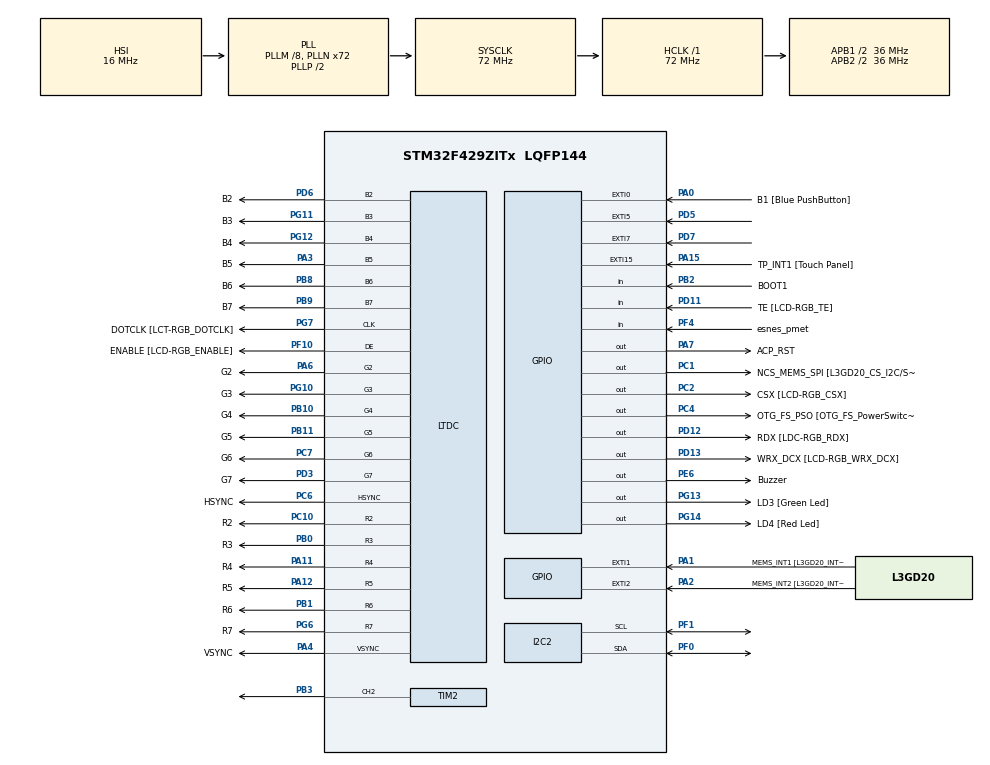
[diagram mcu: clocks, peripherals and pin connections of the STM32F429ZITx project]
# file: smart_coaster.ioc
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Mcu.Family=STM32F4
Mcu.Name=STM32F429ZITx
Mcu.Package=LQFP144
NVIC.PriorityGroup=NVIC_PRIORITYGROUP_4
PA0/WKUP.GPIO_Label=B1 [Blue PushButton]
PA0/WKUP.GPIO_ModeDefaultEXTI=GPIO_MODE_EVT_RISING
PA0/WKUP.GPIO_PuPd=GPIO_NOPULL
PA0/WKUP.Signal=GPXTI0
PA1.GPIO_Label=MEMS_INT1 [L3GD20_INT1]
PA1.GPIO_ModeDefaultEXTI=GPIO_MODE_EVT_RISING
PA1.GPIO_PuPd=GPIO_NOPULL
PA1.Signal=GPXTI1
PA10.GPIO_Label=STLINK_TX [STM32F103CBT6_PA2]
PA10.Signal=USART1_RX
PA11.GPIO_Label=R4
PA11.GPIO_Mode=GPIO_MODE_AF_PP
PA11.GPIO_PuPd=GPIO_NOPULL
PA11.GPIO_Speed=GPIO_SPEED_FREQ_LOW
PA11.Mode=RGB666
PA11.Signal=LTDC_R4
PA12.GPIO_Label=R5
PA12.GPIO_Mode=GPIO_MODE_AF_PP
PA12.GPIO_PuPd=GPIO_NOPULL
PA12.GPIO_Speed=GPIO_SPEED_FREQ_LOW
PA12.Mode=RGB666
PA12.Signal=LTDC_R5
PA13.GPIO_Label=SWDIO
PA13.Signal=SYS_JTMS-SWDIO
PA14.GPIO_Label=SWCLK
PA14.Signal=SYS_JTCK-SWCLK
PA15.GPIO_Label=TP_INT1 [Touch Panel]
PA15.GPIO_ModeDefaultEXTI=GPIO_MODE_EVT_RISING
PA15.GPIO_PuPd=GPIO_NOPULL
PA15.Signal=GPXTI15
PA2.GPIO_Label=MEMS_INT2 [L3GD20_INT2]
PA2.GPIO_ModeDefaultEXTI=GPIO_MODE_EVT_RISING
PA2.GPIO_PuPd=GPIO_NOPULL
PA2.Signal=GPXTI2
PA3.GPIO_Label=B5
PA3.GPIO_Mode=GPIO_MODE_AF_PP
PA3.GPIO_PuPd=GPIO_NOPULL
PA3.GPIO_Speed=GPIO_SPEED_FREQ_LOW
PA3.Mode=RGB666
PA3.Signal=LTDC_B5
PA4.GPIO_Label=VSYNC
PA4.GPIO_Mode=GPIO_MODE_AF_PP
PA4.GPIO_PuPd=GPIO_NOPULL
PA4.GPIO_Speed=GPIO_SPEED_FREQ_LOW
PA4.Mode=RGB666
PA4.Signal=LTDC_VSYNC
PA6.GPIO_Label=G2
PA6.GPIO_Mode=GPIO_MODE_AF_PP
PA6.GPIO_PuPd=GPIO_NOPULL
PA6.GPIO_Speed=GPIO_SPEED_FREQ_LOW
PA6.Mode=RGB666
PA6.Signal=LTDC_G2
PA7.GPIO_Label=ACP_RST
PA7.GPIO_Mode=GPIO_MODE_OUTPUT_PP
PA7.GPIO_PuPd=GPIO_NOPULL
PA7.GPIO_Speed=GPIO_SPEED_FREQ_LOW
PA7.Signal=GPIO_Output
PA8.GPIO_Label=I2C3_SCL [ACP/RF_SCL]
PA8.GPIO_Mode=GPIO_MODE_AF_OD
PA8.GPIO_Pu=GPIO_PULLUP
PA8.GPIO_PuPd=GPIO_NOPULL
PA8.GPIO_Speed=GPIO_SPEED_FREQ_LOW
PA8.Signal=I2C3_SCL
PA9.GPIO_Label=STLINK_RX [STM32F103CBT6_PA3]
PA9.Signal=USART1_TX
PB0.GPIO_Label=R3
PB0.GPIO_Mode=GPIO_MODE_AF_PP
PB0.GPIO_PuPd=GPIO_NOPULL
PB0.GPIO_Speed=GPIO_SPEED_FREQ_LOW
PB0.Mode=RGB666
PB0.Signal=LTDC_R3
PB1.GPIO_Label=R6
PB1.GPIO_Mode=GPIO_MODE_AF_PP
PB1.GPIO_PuPd=GPIO_NOPULL
PB1.GPIO_Speed=GPIO_SPEED_FREQ_LOW
PB1.Mode=RGB666
PB1.Signal=LTDC_R6
PB10.GPIO_Label=G4
PB10.GPIO_Mode=GPIO_MODE_AF_PP
PB10.GPIO_PuPd=GPIO_NOPULL
PB10.GPIO_Speed=GPIO_SPEED_FREQ_LOW
PB10.Mode=RGB666
PB10.Signal=LTDC_G4
PB11.GPIO_Label=G5
PB11.GPIO_Mode=GPIO_MODE_AF_PP
PB11.GPIO_PuPd=GPIO_NOPULL
PB11.GPIO_Speed=GPIO_SPEED_FREQ_LOW
PB11.Mode=RGB666
PB11.Signal=LTDC_G5
PB12.GPIO_Label=OTG_HS_ID
PB12.GPIO_Mode=GPIO_MODE_AF_PP
PB12.GPIO_PuPd=GPIO_NOPULL
PB12.GPIO_Speed=GPIO_SPEED_FREQ_LOW
PB12.Signal=USB_OTG_HS_ID
PB13.GPIO_Label=VBUS_HS
PB13.GPIO_Mode=GPIO_MODE_INPUT
PB13.GPIO_PuPd=GPIO_NOPULL
PB13.Signal=USB_OTG_HS_VBUS
PB14.GPIO_Label=OTG_HS_DM
PB14.GPIO_Mode=GPIO_MODE_AF_PP
PB14.GPIO_PuPd=GPIO_NOPULL
PB14.GPIO_Speed=GPIO_SPEED_FREQ_LOW
PB14.Signal=USB_OTG_HS_DM
PB15.GPIO_Label=OTG_HS_DP
PB15.GPIO_Mode=GPIO_MODE_AF_PP
PB15.GPIO_PuPd=GPIO_NOPULL
PB15.GPIO_Speed=GPIO_SPEED_FREQ_LOW
PB15.Signal=USB_OTG_HS_DP
PB2/BOOT1.GPIO_Label=BOOT1
PB2/BOOT1.GPIO_Mode=GPIO_MODE_INPUT
PB2/BOOT1.GPIO_PuPd=GPIO_NOPULL
PB2/BOOT1.Signal=GPIO_Input
PB3.Signal=S_TIM2_CH2
PB5.GPIO_Label=SDCKE1
PB5.GPIO_Mode=GPIO_MODE_AF_PP
PB5.GPIO_PuPd=GPIO_NOPULL
PB5.GPIO_Speed=GPIO_SPEED_FREQ_VERY_HIGH
PB5.Signal=FMC_SDCKE1
PB6.GPIO_Label=SDNE1 [SDRAM_CS]
PB6.GPIO_Mode=GPIO_MODE_AF_PP
PB6.GPIO_PuPd=GPIO_NOPULL
PB6.GPIO_Speed=GPIO_SPEED_FREQ_VERY_HIGH
PB6.Signal=FMC_SDNE1
PB8.GPIO_Label=B6
PB8.GPIO_Mode=GPIO_MODE_AF_PP
PB8.GPIO_PuPd=GPIO_NOPULL
PB8.GPIO_Speed=GPIO_SPEED_FREQ_LOW
PB8.Mode=RGB666
PB8.Signal=LTDC_B6
PB9.GPIO_Label=B7
PB9.GPIO_Mode=GPIO_MODE_AF_PP
PB9.GPIO_PuPd=GPIO_NOPULL
PB9.GPIO_Speed=GPIO_SPEED_FREQ_LOW
PB9.Mode=RGB666
PB9.Signal=LTDC_B7
PC0.GPIO_Label=SDNWE
PC0.GPIO_Mode=GPIO_MODE_AF_PP
PC0.GPIO_PuPd=GPIO_NOPULL
PC0.GPIO_Speed=GPIO_SPEED_FREQ_VERY_HIGH
PC0.Signal=FMC_SDNWE
PC1.GPIO_Label=NCS_MEMS_SPI [L3GD20_CS_I2C/SPI]
PC1.GPIO_Mode=GPIO_MODE_OUTPUT_PP
PC1.GPIO_PuPd=GPIO_NOPULL
PC1.GPIO_Speed=GPIO_SPEED_FREQ_LOW
PC1.Signal=GPIO_Output
PC10.GPIO_Label=R2
PC10.GPIO_Mode=GPIO_MODE_AF_PP
PC10.GPIO_PuPd=GPIO_NOPULL
PC10.GPIO_Speed=GPIO_SPEED_FREQ_LOW
PC10.Mode=RGB666
PC10.Signal=LTDC_R2
PC14/OSC32_IN.GPIO_Label=PC14-OSC32_IN
PC14/OSC32_IN.Signal=RCC_OSC32_IN
PC15/OSC32_OUT.GPIO_Label=PC15-OSC32_OUT
PC15/OSC32_OUT.Signal=RCC_OSC32_OUT
PC2.GPIO_Label=CSX [LCD-RGB_CSX]
PC2.GPIO_Mode=GPIO_MODE_OUTPUT_PP
PC2.GPIO_PuPd=GPIO_NOPULL
PC2.GPIO_Speed=GPIO_SPEED_FREQ_LOW
PC2.Signal=GPIO_Output
PC4.GPIO_Label=OTG_FS_PSO [OTG_FS_PowerSwitchOn]
PC4.GPIO_Mode=GPIO_MODE_OUTPUT_PP
PC4.GPIO_PuPd=GPIO_NOPULL
PC4.GPIO_Speed=GPIO_SPEED_FREQ_LOW
PC4.Signal=GPIO_Output
PC6.GPIO_Label=HSYNC
PC6.GPIO_Mode=GPIO_MODE_AF_PP
PC6.GPIO_PuPd=GPIO_NOPULL
PC6.GPIO_Speed=GPIO_SPEED_FREQ_LOW
PC6.Mode=RGB666
PC6.Signal=LTDC_HSYNC
PC7.GPIO_Label=G6
PC7.GPIO_Mode=GPIO_MODE_AF_PP
PC7.GPIO_PuPd=GPIO_NOPULL
PC7.GPIO_Speed=GPIO_SPEED_FREQ_LOW
PC7.Mode=RGB666
PC7.Signal=LTDC_G6
PC9.GPIO_Label=I2C3_SDA [ACP/RF_SDA]
PC9.GPIO_Mode=GPIO_MODE_AF_OD
PC9.GPIO_Pu=GPIO_PULLUP
PC9.GPIO_PuPd=GPIO_NOPULL
PC9.GPIO_Speed=GPIO_SPEED_FREQ_LOW
PC9.Signal=I2C3_SDA
PD0.GPIO_Label=D2
PD0.GPIO_Mode=GPIO_MODE_AF_PP
PD0.GPIO_PuPd=GPIO_NOPULL
PD0.GPIO_Speed=GPIO_SPEED_FREQ_VERY_HIGH
PD0.Signal=FMC_D2_DA2
PD1.GPIO_Label=D3
PD1.GPIO_Mode=GPIO_MODE_AF_PP
PD1.GPIO_PuPd=GPIO_NOPULL
PD1.GPIO_Speed=GPIO_SPEED_FREQ_VERY_HIGH
PD1.Signal=FMC_D3_DA3
PD10.GPIO_Label=D15
PD10.GPIO_Mode=GPIO_MODE_AF_PP
PD10.GPIO_PuPd=GPIO_NOPULL
PD10.GPIO_Speed=GPIO_SPEED_FREQ_VERY_HIGH
PD10.Signal=FMC_D15_DA15
PD11.GPIO_Label=TE [LCD-RGB_TE]
PD11.GPIO_Mode=GPIO_MODE_INPUT
PD11.GPIO_PuPd=GPIO_NOPULL
PD11.Signal=GPIO_Input
PD12.GPIO_Label=RDX [LDC-RGB_RDX]
PD12.GPIO_Mode=GPIO_MODE_OUTPUT_PP
PD12.GPIO_PuPd=GPIO_NOPULL
PD12.GPIO_Speed=GPIO_SPEED_FREQ_LOW
PD12.Signal=GPIO_Output
PD13.GPIO_Label=WRX_DCX [LCD-RGB_WRX_DCX]
PD13.GPIO_Mode=GPIO_MODE_OUTPUT_PP
PD13.GPIO_PuPd=GPIO_NOPULL
PD13.GPIO_Speed=GPIO_SPEED_FREQ_LOW
PD13.Signal=GPIO_Output
PD14.GPIO_Label=D0
PD14.GPIO_Mode=GPIO_MODE_AF_PP
PD14.GPIO_PuPd=GPIO_NOPULL
PD14.GPIO_Speed=GPIO_SPEED_FREQ_VERY_HIGH
PD14.Signal=FMC_D0_DA0
PD15.GPIO_Label=D1
PD15.GPIO_Mode=GPIO_MODE_AF_PP
PD15.GPIO_PuPd=GPIO_NOPULL
PD15.GPIO_Speed=GPIO_SPEED_FREQ_VERY_HIGH
PD15.Signal=FMC_D1_DA1
PD3.GPIO_Label=G7
PD3.GPIO_Mode=GPIO_MODE_AF_PP
PD3.GPIO_PuPd=GPIO_NOPULL
PD3.GPIO_Speed=GPIO_SPEED_FREQ_LOW
PD3.Mode=RGB666
PD3.Signal=LTDC_G7
PD5.Signal=GPXTI5
PD6.GPIO_Label=B2
PD6.GPIO_Mode=GPIO_MODE_AF_PP
PD6.GPIO_PuPd=GPIO_NOPULL
PD6.GPIO_Speed=GPIO_SPEED_FREQ_LOW
PD6.Mode=RGB666
PD6.Signal=LTDC_B2
PD7.Signal=GPXTI7
PD8.GPIO_Label=D13
PD8.GPIO_Mode=GPIO_MODE_AF_PP
PD8.GPIO_PuPd=GPIO_NOPULL
PD8.GPIO_Speed=GPIO_SPEED_FREQ_VERY_HIGH
PD8.Signal=FMC_D13_DA13
PD9.GPIO_Label=D14
PD9.GPIO_Mode=GPIO_MODE_AF_PP
PD9.GPIO_PuPd=GPIO_NOPULL
PD9.GPIO_Speed=GPIO_SPEED_FREQ_VERY_HIGH
PD9.Signal=FMC_D14_DA14
PE0.GPIO_Label=NBL0 [SDRAM_LDQM]
PE0.GPIO_Mode=GPIO_MODE_AF_PP
PE0.GPIO_PuPd=GPIO_NOPULL
PE0.GPIO_Speed=GPIO_SPEED_FREQ_VERY_HIGH
PE0.Signal=FMC_NBL0
PE1.GPIO_Label=NBL1 [SDRAM_UDQM]
PE1.GPIO_Mode=GPIO_MODE_AF_PP
PE1.GPIO_PuPd=GPIO_NOPULL
PE1.GPIO_Speed=GPIO_SPEED_FREQ_VERY_HIGH
PE1.Signal=FMC_NBL1
PE10.GPIO_Label=D7
PE10.GPIO_Mode=GPIO_MODE_AF_PP
PE10.GPIO_PuPd=GPIO_NOPULL
PE10.GPIO_Speed=GPIO_SPEED_FREQ_VERY_HIGH
PE10.Signal=FMC_D7_DA7
PE11.GPIO_Label=D8
PE11.GPIO_Mode=GPIO_MODE_AF_PP
PE11.GPIO_PuPd=GPIO_NOPULL
PE11.GPIO_Speed=GPIO_SPEED_FREQ_VERY_HIGH
PE11.Signal=FMC_D8_DA8
PE12.GPIO_Label=D9
PE12.GPIO_Mode=GPIO_MODE_AF_PP
PE12.GPIO_PuPd=GPIO_NOPULL
PE12.GPIO_Speed=GPIO_SPEED_FREQ_VERY_HIGH
PE12.Signal=FMC_D9_DA9
PE13.GPIO_Label=D10
PE13.GPIO_Mode=GPIO_MODE_AF_PP
PE13.GPIO_PuPd=GPIO_NOPULL
PE13.GPIO_Speed=GPIO_SPEED_FREQ_VERY_HIGH
PE13.Signal=FMC_D10_DA10
PE14.GPIO_Label=D11
PE14.GPIO_Mode=GPIO_MODE_AF_PP
PE14.GPIO_PuPd=GPIO_NOPULL
PE14.GPIO_Speed=GPIO_SPEED_FREQ_VERY_HIGH
PE14.Signal=FMC_D11_DA11
PE15.GPIO_Label=D12
PE15.GPIO_Mode=GPIO_MODE_AF_PP
PE15.GPIO_PuPd=GPIO_NOPULL
PE15.GPIO_Speed=GPIO_SPEED_FREQ_VERY_HIGH
PE15.Signal=FMC_D12_DA12
PE6.GPIO_Label=Buzzer
PE6.Signal=GPIO_Output
PE7.GPIO_Label=D4
PE7.GPIO_Mode=GPIO_MODE_AF_PP
PE7.GPIO_PuPd=GPIO_NOPULL
PE7.GPIO_Speed=GPIO_SPEED_FREQ_VERY_HIGH
PE7.Signal=FMC_D4_DA4
PE8.GPIO_Label=D5
PE8.GPIO_Mode=GPIO_MODE_AF_PP
PE8.GPIO_PuPd=GPIO_NOPULL
PE8.GPIO_Speed=GPIO_SPEED_FREQ_VERY_HIGH
PE8.Signal=FMC_D5_DA5
PE9.GPIO_Label=D6
PE9.GPIO_Mode=GPIO_MODE_AF_PP
PE9.GPIO_PuPd=GPIO_NOPULL
PE9.GPIO_Speed=GPIO_SPEED_FREQ_VERY_HIGH
PE9.Signal=FMC_D6_DA6
PF0.Mode=I2C
PF0.Signal=I2C2_SDA
PF1.Mode=I2C
PF1.Signal=I2C2_SCL
PF10.GPIO_Label=ENABLE [LCD-RGB_ENABLE]
PF10.GPIO_Mode=GPIO_MODE_AF_PP
PF10.GPIO_PuPd=GPIO_NOPULL
PF10.GPIO_Speed=GPIO_SPEED_FREQ_LOW
PF10.Mode=RGB666
PF10.Signal=LTDC_DE
PF11.GPIO_Label=SDNRAS
PF11.GPIO_Mode=GPIO_MODE_AF_PP
PF11.GPIO_PuPd=GPIO_NOPULL
PF11.GPIO_Speed=GPIO_SPEED_FREQ_VERY_HIGH
PF11.Signal=FMC_SDNRAS
PF12.GPIO_Label=A6
PF12.GPIO_Mode=GPIO_MODE_AF_PP
PF12.GPIO_PuPd=GPIO_NOPULL
PF12.GPIO_Speed=GPIO_SPEED_FREQ_VERY_HIGH
PF12.Signal=FMC_A6
PF13.GPIO_Label=A7
PF13.GPIO_Mode=GPIO_MODE_AF_PP
PF13.GPIO_PuPd=GPIO_NOPULL
PF13.GPIO_Speed=GPIO_SPEED_FREQ_VERY_HIGH
PF13.Signal=FMC_A7
PF14.GPIO_Label=A8
PF14.GPIO_Mode=GPIO_MODE_AF_PP
PF14.GPIO_PuPd=GPIO_NOPULL
PF14.GPIO_Speed=GPIO_SPEED_FREQ_VERY_HIGH
PF14.Signal=FMC_A8
PF15.GPIO_Label=A9
PF15.GPIO_Mode=GPIO_MODE_AF_PP
PF15.GPIO_PuPd=GPIO_NOPULL
PF15.GPIO_Speed=GPIO_SPEED_FREQ_VERY_HIGH
PF15.Signal=FMC_A9
PF2.GPIO_Label=A2
PF2.GPIO_Mode=GPIO_MODE_AF_PP
PF2.GPIO_PuPd=GPIO_NOPULL
PF2.GPIO_Speed=GPIO_SPEED_FREQ_VERY_HIGH
PF2.Signal=FMC_A2
PF3.GPIO_Label=A3
PF3.GPIO_Mode=GPIO_MODE_AF_PP
PF3.GPIO_PuPd=GPIO_NOPULL
PF3.GPIO_Speed=GPIO_SPEED_FREQ_VERY_HIGH
PF3.Signal=FMC_A3
PF4.GPIO_Label=esnes_pmet
PF4.GPIO_PuPd=GPIO_PULLUP
PF4.Signal=GPIO_Input
PF5.GPIO_Label=A5
PF5.GPIO_Mode=GPIO_MODE_AF_PP
PF5.GPIO_PuPd=GPIO_NOPULL
PF5.GPIO_Speed=GPIO_SPEED_FREQ_VERY_HIGH
PF5.Signal=FMC_A5
PF7.GPIO_Label=SPI5_SCK [L3GD20_SCL/SPC]
PF7.GPIO_Mode=GPIO_MODE_AF_PP
PF7.GPIO_PuPd=GPIO_NOPULL
PF7.GPIO_Speed=GPIO_SPEED_FREQ_LOW
PF7.Signal=SPI5_SCK
PF8.GPIO_Label=SPI5_MISO [L3GD20_SDO]
PF8.GPIO_Mode=GPIO_MODE_AF_PP
PF8.GPIO_PuPd=GPIO_NOPULL
PF8.GPIO_Speed=GPIO_SPEED_FREQ_LOW
PF8.Signal=SPI5_MISO
PF9.GPIO_Label=SPI5_MOSI [L3GD20_SDA/SDI/SDO]
PF9.GPIO_Mode=GPIO_MODE_AF_PP
PF9.GPIO_PuPd=GPIO_NOPULL
PF9.GPIO_Speed=GPIO_SPEED_FREQ_LOW
PF9.Signal=SPI5_MOSI
PG0.GPIO_Label=A10
PG0.GPIO_Mode=GPIO_MODE_AF_PP
PG0.GPIO_PuPd=GPIO_NOPULL
PG0.GPIO_Speed=GPIO_SPEED_FREQ_VERY_HIGH
PG0.Signal=FMC_A10
PG1.GPIO_Label=A11
PG1.GPIO_Mode=GPIO_MODE_AF_PP
PG1.GPIO_PuPd=GPIO_NOPULL
PG1.GPIO_Speed=GPIO_SPEED_FREQ_VERY_HIGH
PG1.Signal=FMC_A11
PG10.GPIO_Label=G3
PG10.GPIO_Mode=GPIO_MODE_AF_PP
PG10.GPIO_PuPd=GPIO_NOPULL
PG10.GPIO_Speed=GPIO_SPEED_FREQ_LOW
PG10.Mode=RGB666
PG10.Signal=LTDC_G3
PG11.GPIO_Label=B3
PG11.GPIO_Mode=GPIO_MODE_AF_PP
PG11.GPIO_PuPd=GPIO_NOPULL
PG11.GPIO_Speed=GPIO_SPEED_FREQ_LOW
PG11.Mode=RGB666
PG11.Signal=LTDC_B3
PG12.GPIO_Label=B4
PG12.GPIO_Mode=GPIO_MODE_AF_PP
PG12.GPIO_PuPd=GPIO_NOPULL
PG12.GPIO_Speed=GPIO_SPEED_FREQ_LOW
PG12.Mode=RGB666
PG12.Signal=LTDC_B4
PG13.GPIO_Label=LD3 [Green Led]
PG13.GPIO_Mode=GPIO_MODE_OUTPUT_PP
PG13.GPIO_PuPd=GPIO_NOPULL
PG13.GPIO_Speed=GPIO_SPEED_FREQ_LOW
PG13.Signal=GPIO_Output
PG14.GPIO_Label=LD4 [Red Led]
PG14.GPIO_Mode=GPIO_MODE_OUTPUT_PP
PG14.GPIO_PuPd=GPIO_NOPULL
PG14.GPIO_Speed=GPIO_SPEED_FREQ_LOW
PG14.Signal=GPIO_Output
PG15.GPIO_Label=SDNCAS
PG15.GPIO_Mode=GPIO_MODE_AF_PP
PG15.GPIO_PuPd=GPIO_NOPULL
PG15.GPIO_Speed=GPIO_SPEED_FREQ_VERY_HIGH
PG15.Signal=FMC_SDNCAS
PG4.GPIO_Label=BA0
PG4.GPIO_Mode=GPIO_MODE_AF_PP
PG4.GPIO_PuPd=GPIO_NOPULL
PG4.GPIO_Speed=GPIO_SPEED_FREQ_VERY_HIGH
PG4.Signal=FMC_A14_BA0
PG5.GPIO_Label=BA1
PG5.GPIO_Mode=GPIO_MODE_AF_PP
PG5.GPIO_PuPd=GPIO_NOPULL
PG5.GPIO_Speed=GPIO_SPEED_FREQ_VERY_HIGH
PG5.Signal=FMC_A15_BA1
PG6.GPIO_Label=R7
PG6.GPIO_Mode=GPIO_MODE_AF_PP
PG6.GPIO_PuPd=GPIO_NOPULL
PG6.GPIO_Speed=GPIO_SPEED_FREQ_LOW
PG6.Mode=RGB666
PG6.Signal=LTDC_R7
PG7.GPIO_Label=DOTCLK [LCT-RGB_DOTCLK]
PG7.GPIO_Mode=GPIO_MODE_AF_PP
PG7.GPIO_PuPd=GPIO_NOPULL
PG7.GPIO_Speed=GPIO_SPEED_FREQ_LOW
PG7.Mode=RGB666
PG7.Signal=LTDC_CLK
PG8.GPIO_Label=SDCLK
PG8.GPIO_Mode=GPIO_MODE_AF_PP
PG8.GPIO_PuPd=GPIO_NOPULL
PG8.GPIO_Speed=GPIO_SPEED_FREQ_VERY_HIGH
PG8.Signal=FMC_SDCLK
PH0/OSC_IN.GPIO_Label=PH0-OSC_IN
PH0/OSC_IN.Signal=RCC_OSC_IN
PH1/OSC_OUT.GPIO_Label=PH1-OSC_OUT
PH1/OSC_OUT.Signal=RCC_OSC_OUT
ProjectManager.HeapSize=0x200
ProjectManager.StackSize=0x400
ProjectManager.TargetToolchain=STM32CubeIDE
RCC.48MHZClocksFreq_Value=48000000
RCC.AHBFreq_Value=72000000
RCC.APB1CLKDivider=RCC_HCLK_DIV2
RCC.APB1Freq_Value=36000000
RCC.APB1TimFreq_Value=72000000
RCC.APB2CLKDivider=RCC_HCLK_DIV2
RCC.APB2Freq_Value=36000000
RCC.APB2TimFreq_Value=72000000
RCC.CortexFreq_Value=72000000
RCC.HCLKFreq_Value=72000000
RCC.HSE_VALUE=8000000
RCC.HSI_VALUE=16000000
RCC.LSE_VALUE=32768
RCC.PLLM=8
RCC.PLLN=72
RCC.PLLQ=3
RCC.PLLSAIN=50
RCC.SYSCLKFreq_VALUE=72000000
RCC.SYSCLKSource=RCC_SYSCLKSOURCE_PLLCLK
RCC.VCOOutputFreq_Value=144000000
SH.FMC_A10.0=FMC_A10
SH.FMC_A11.0=FMC_A11
SH.FMC_A14_BA0.0=FMC_BA0
SH.FMC_A15_BA1.0=FMC_BA1
SH.FMC_A2.0=FMC_A2
SH.FMC_A3.0=FMC_A3
SH.FMC_A5.0=FMC_A5
SH.FMC_A6.0=FMC_A6
SH.FMC_A7.0=FMC_A7
SH.FMC_A8.0=FMC_A8
SH.FMC_A9.0=FMC_A9
SH.FMC_D0_DA0.0=FMC_D0
SH.FMC_D10_DA10.0=FMC_D10
SH.FMC_D11_DA11.0=FMC_D11
SH.FMC_D12_DA12.0=FMC_D12
SH.FMC_D13_DA13.0=FMC_D13
SH.FMC_D14_DA14.0=FMC_D14
SH.FMC_D15_DA15.0=FMC_D15
SH.FMC_D1_DA1.0=FMC_D1
SH.FMC_D2_DA2.0=FMC_D2
SH.FMC_D3_DA3.0=FMC_D3
SH.FMC_D4_DA4.0=FMC_D4
SH.FMC_D5_DA5.0=FMC_D5
SH.FMC_D6_DA6.0=FMC_D6
SH.FMC_D7_DA7.0=FMC_D7
SH.FMC_D8_DA8.0=FMC_D8
SH.FMC_D9_DA9.0=FMC_D9
SH.FMC_NBL0.0=FMC_NBL0
SH.FMC_NBL1.0=FMC_NBL1
SH.FMC_SDCLK.0=FMC_SDCLK
SH.FMC_SDNCAS.0=FMC_SDNCAS
SH.FMC_SDNRAS.0=FMC_SDNRAS
SH.FMC_SDNWE.0=FMC_SDNWE
SH.S_TIM2_CH2.0=TIM2_CH2,PWM Generation2 CH2
TIM2.Channel-PWM\ Generation2\ CH2=TIM_CHANNEL_2
TIM2.Period=20
TIM2.Prescaler=127
TIM6.Period=0xffff-1
TIM6.Prescaler=50-1
VP_TIM2_VS_ClockSourceINT.Mode=Internal
VP_TIM6_VS_ClockSourceINT.Mode=Enable_Timer
board=STM32F429I-DISC1

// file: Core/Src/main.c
/* USER CODE BEGIN Header */
/**
  ******************************************************************************
  * @file           : main.c
  * @brief          : Main program body
  ******************************************************************************
  * @attention
  *
  * Copyright (c) 2022 STMicroelectronics.
  * All rights reserved.
  *
  * This software is licensed under terms that can be found in the LICENSE file
  * in the root directory of this software component.
  * If no LICENSE file comes with this software, it is provided AS-IS.
  *
  ******************************************************************************
  */
/* USER CODE END Header */
#include "main.h"
#include "i2c.h"
#include "ltdc.h"
#include "tim.h"
#include "gpio.h"

/* USER CODE BEGIN Includes */
#include "i2c-lcd.h"
//#include "DHT.h"
#include "dht11.h"
#include "mpu6050.h"
/* USER CODE END Includes */

void SystemClock_Config(void);

/* USER CODE BEGIN 0 */

/* DEFINE THE DHT DataTypedef
* Look in the DHT.h for the definition
*/
//DHT_DataTypedef DHT11_Data;
//float Temperature, Humidity;

void delay (uint16_t time)
{
	/* change your code here for the delay in microseconds */
	__HAL_TIM_SET_COUNTER(&htim6, 0);
	while ((__HAL_TIM_GET_COUNTER(&htim6))<time);
}

void buzzer_beep(void)
{
	int x = 0;
	for(x=10; x<30; x=x+1)
	{
	  __HAL_TIM_SET_AUTORELOAD(&htim2, x*2);
	  __HAL_TIM_SET_COMPARE(&htim2,TIM_CHANNEL_2, x);
	}
}

void stop_buzzer(void)
{
  __HAL_TIM_SET_COMPARE(&htim2,TIM_CHANNEL_2, 0);
}

void Display_Temp (float Temp)
{
	char str[20] = {0};
	lcd_put_cur(0, 0);

//	sprintf (str, "TEMP:- %.2f ", Temp);
	sprintf (str, "TEMP: %.2f ", Temp);
	lcd_send_string(str);
	lcd_send_data('C');
}

void Display_Rh (float Rh)
{
	char str[20] = {0};
	lcd_put_cur(1, 0);

	sprintf (str, "RH:- %.2f ", Rh);
	lcd_send_string(str);
	lcd_send_data('%');
}

uint8_t Rh_byte1, Rh_byte2, Temp_byte1, Temp_byte2;
uint16_t SUM, RH, TEMP;

float Temperature = 0;
float Humidity = 0;
uint8_t Presence = 0;

void Set_Pin_Output (GPIO_TypeDef *GPIOx, uint16_t GPIO_Pin)
{
	GPIO_InitTypeDef GPIO_InitStruct = {0};
	GPIO_InitStruct.Pin = GPIO_Pin;
	GPIO_InitStruct.Mode = GPIO_MODE_OUTPUT_PP;
	GPIO_InitStruct.Speed = GPIO_SPEED_FREQ_LOW;
	HAL_GPIO_Init(GPIOx, &GPIO_InitStruct);
}

void Set_Pin_Input (GPIO_TypeDef *GPIOx, uint16_t GPIO_Pin)
{
	GPIO_InitTypeDef GPIO_InitStruct = {0};
	GPIO_InitStruct.Pin = GPIO_Pin;
	GPIO_InitStruct.Mode = GPIO_MODE_INPUT;
	GPIO_InitStruct.Pull = GPIO_PULLUP;
	HAL_GPIO_Init(GPIOx, &GPIO_InitStruct);
}

float Ax, Ay, Az, Gx, Gy, Gz;

/* USER CODE END 0 */

int main(void)
{
  /* USER CODE BEGIN 1 */
	char buf[4];
  /* USER CODE END 1 */

  /* MCU Configuration--------------------------------------------------------*/

  /* Reset of all peripherals, Initializes the Flash interface and the Systick. */
  HAL_Init();

  /* Configure the system clock */
  SystemClock_Config();

  /* Initialize all configured peripherals */
  MX_GPIO_Init();
  MX_I2C2_Init();
  MX_TIM6_Init();
  MX_LTDC_Init();
  MX_TIM2_Init();
  /* USER CODE BEGIN 2 */

  HAL_TIM_Base_Start(&htim6);

  /* Initialize the PWM timer */
  HAL_TIM_PWM_Start(&htim2, TIM_CHANNEL_2);

  lcd_init();

  HAL_Delay(1000);
  lcd_clear();

//  HAL_GPIO_WritePin(Buzzer_GPIO_Port, Buzzer_Pin, GPIO_PIN_SET);
  /* USER CODE END 2 */

  /* Infinite loop */
  while (1)
  {

    /* USER CODE BEGIN 3 */

//	int x;
//	for(x=10; x<30; x=x+1)
//	{
//	  __HAL_TIM_SET_AUTORELOAD(&htim2, x*2);
//	  __HAL_TIM_SET_COMPARE(&htim2,TIM_CHANNEL_2, x);
//	  HAL_Delay(100);
//	}

//	  int x;
//	//for(x=10; x<30; x=x+1)
//
//	  __HAL_TIM_SET_AUTORELOAD(&htim2, x*2);
//	  __HAL_TIM_SET_COMPARE(&htim2,TIM_CHANNEL_2, x);
//	  HAL_Delay(100);

//	  buzzer_beep();
//	  HAL_Delay(500);

	  HAL_GPIO_WritePin(Buzzer_GPIO_Port, Buzzer_Pin, GPIO_PIN_SET);
	  HAL_Delay(500);
	  HAL_GPIO_WritePin(Buzzer_GPIO_Port, Buzzer_Pin, GPIO_PIN_RESET);
	  HAL_Delay(500);
//	  stop_buzzer();
//	  HAL_Delay(500);
	  // read the Accelerometer and Gyro values

	  MPU6050_Read_Accel();
	  MPU6050_Read_Gyro();

	  lcd_init();
	  HAL_Delay(1000);
//	  lcd_clear();
	  /* Display current temperature */
	  Display_Temp(Temperature);
//	  Display_Rh(Humidity);

	  DHT11_Start();
	  Presence = DHT11_Check_Response();
	  Rh_byte1 = DHT11_Read ();
      Rh_byte2 = DHT11_Read ();
	  Temp_byte1 = DHT11_Read ();
	  Temp_byte2 = DHT11_Read ();
	  SUM = DHT11_Read();

	  TEMP = Temp_byte1;
	  RH = Rh_byte1;

	  Temperature = (float) TEMP;
	  Humidity = (float) RH;

	  if (Temperature > 22.0){
//		  buzzer_beep();
	  }

	  // print the Acceleration and Gyro values on the LCD 20x4

	  lcd_send_cmd (0x80|0x00);  // goto 1,1
	  lcd_send_string ("Ax=");
	  sprintf (buf, "%.2f", Ax);
	  lcd_send_string (buf);
	  lcd_send_string ("g ");

	  lcd_send_cmd (0x80|0x40);  // goto 2,1
	  lcd_send_string ("Ay=");
	  sprintf (buf, "%.2f", Ay);
	  lcd_send_string (buf);
	  lcd_send_string ("g ");

	  lcd_send_cmd (0x80|0x14);  // goto 3,1
	  lcd_send_string ("Az=");
	  sprintf (buf, "%.2f", Az);
	  lcd_send_string (buf);
	  lcd_send_string ("g ");

	  lcd_send_cmd (0x80|0x0A);  // goto 1,11
	  lcd_send_string ("Gx=");
	  sprintf (buf, "%.2f", Gx);
	  lcd_send_string (buf);

	  lcd_send_cmd (0x80|0x4A);  // goto 2,11
	  lcd_send_string ("Gy=");
	  sprintf (buf, "%.2f", Gy);
	  lcd_send_string (buf);

	  lcd_send_cmd (0x80|0x1E);  // goto 3,11
	  lcd_send_string ("Gz=");
	  sprintf (buf, "%.2f", Gz);
	  lcd_send_string (buf);

	  HAL_Delay (250);  // wait for a while

	  HAL_Delay(1000);
//	  lcd_clear();
//

  }
  /* USER CODE END 3 */
}

void SystemClock_Config(void)
{
  RCC_OscInitTypeDef RCC_OscInitStruct = {0};
  RCC_ClkInitTypeDef RCC_ClkInitStruct = {0};

  /** Configure the main internal regulator output voltage
  */
  __HAL_RCC_PWR_CLK_ENABLE();
  __HAL_PWR_VOLTAGESCALING_CONFIG(PWR_REGULATOR_VOLTAGE_SCALE3);
  /** Initializes the RCC Oscillators according to the specified parameters
  * in the RCC_OscInitTypeDef structure.
  */
  RCC_OscInitStruct.OscillatorType = RCC_OSCILLATORTYPE_HSI;
  RCC_OscInitStruct.HSIState = RCC_HSI_ON;
  RCC_OscInitStruct.HSICalibrationValue = RCC_HSICALIBRATION_DEFAULT;
  RCC_OscInitStruct.PLL.PLLState = RCC_PLL_ON;
  RCC_OscInitStruct.PLL.PLLSource = RCC_PLLSOURCE_HSI;
  RCC_OscInitStruct.PLL.PLLM = 8;
  RCC_OscInitStruct.PLL.PLLN = 72;
  RCC_OscInitStruct.PLL.PLLP = RCC_PLLP_DIV2;
  RCC_OscInitStruct.PLL.PLLQ = 3;
  if (HAL_RCC_OscConfig(&RCC_OscInitStruct) != HAL_OK)
  {
    Error_Handler();
  }
  /** Initializes the CPU, AHB and APB buses clocks
  */
  RCC_ClkInitStruct.ClockType = RCC_CLOCKTYPE_HCLK|RCC_CLOCKTYPE_SYSCLK
                              |RCC_CLOCKTYPE_PCLK1|RCC_CLOCKTYPE_PCLK2;
  RCC_ClkInitStruct.SYSCLKSource = RCC_SYSCLKSOURCE_PLLCLK;
  RCC_ClkInitStruct.AHBCLKDivider = RCC_SYSCLK_DIV1;
  RCC_ClkInitStruct.APB1CLKDivider = RCC_HCLK_DIV2;
  RCC_ClkInitStruct.APB2CLKDivider = RCC_HCLK_DIV2;

  if (HAL_RCC_ClockConfig(&RCC_ClkInitStruct, FLASH_LATENCY_2) != HAL_OK)
  {
    Error_Handler();
  }
}

void Error_Handler(void)
{
  __disable_irq();
  while (1)
  {
  }
}
